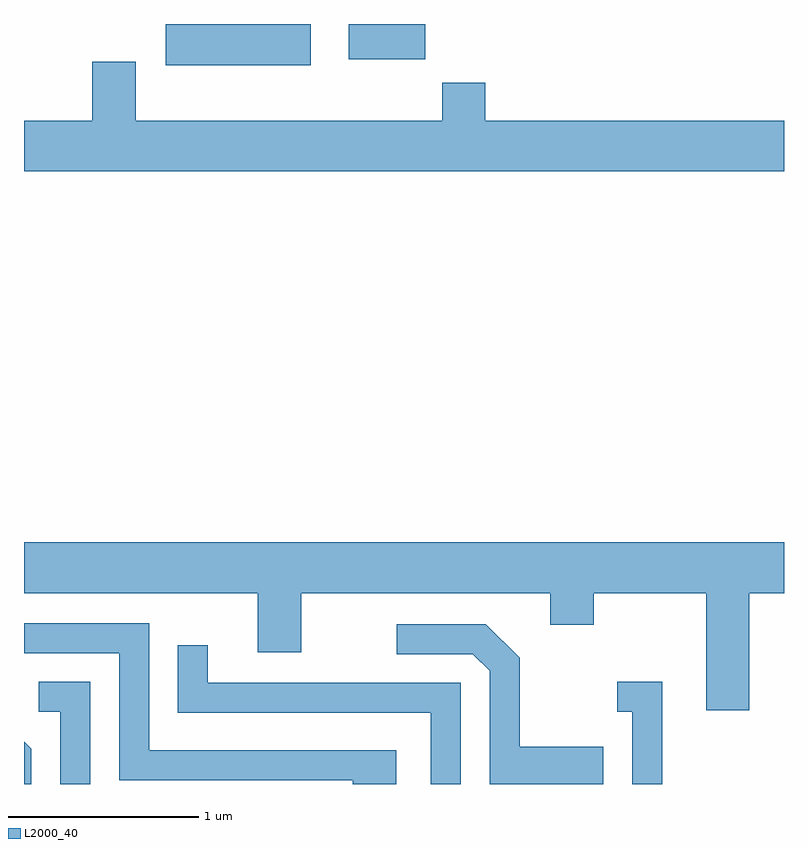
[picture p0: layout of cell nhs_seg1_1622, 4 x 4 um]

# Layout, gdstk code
import gdstk
lib = gdstk.Library(unit=1e-6, precision=1e-09)
def R(c, l, rs):  # rectangles x0, y0, x1, y1
    for r in rs: c.add(gdstk.rectangle(r[:2], r[2:], *l))
def P(c, l, *ps):  # polygons
    for p in ps: c.add(gdstk.Polygon(p, *l))
L2000_40 = (2000, 40)

nhs_seg1_1622 = lib.new_cell('nhs_seg1_1622')
R(nhs_seg1_1622, L2000_40, [(236.356,873.496,237.119,873.712), (237.321,873.526,237.724,873.712)])
P(nhs_seg1_1622, L2000_40, [(239.611,873.204),(238.039,873.204),(238.039,873.404),(237.811,873.404),(237.811,873.204),(236.199,873.204),(236.199,873.514),(235.971,873.514),(235.971,873.204),(235.611,873.204),(235.611,872.936),(239.611,872.936)],
  [(239.429,870.716),(239.611,870.716),(239.611,870.984),(235.611,870.984),(235.611,870.716),(236.841,870.716),(236.841,870.406),(237.069,870.406),(237.069,870.716),(238.381,870.716),(238.381,870.551),(238.609,870.551),(238.609,870.716),(239.201,870.716),(239.201,870.101),(239.429,870.101)],
  [(237.569,869.889),(236.269,869.889),(236.269,870.559),(235.611,870.559),(235.611,870.4),(235.612,870.401),(236.111,870.401),(236.111,869.731),(237.341,869.731),(237.341,869.712),(237.569,869.712)],
  [(238.659,869.909),(238.219,869.909),(238.219,870.377),(238.042,870.554),(237.573,870.554),(237.573,870.396),(237.974,870.396),(238.061,870.309),(238.061,869.712),(238.659,869.712)],
  [(237.909,870.244),(236.579,870.244),(236.579,870.443),(236.421,870.443),(236.421,870.086),(237.751,870.086),(237.751,869.712),(237.909,869.712)],
  [(238.969,870.249),(238.733,870.249),(238.733,870.091),(238.811,870.091),(238.811,869.712),(238.969,869.712)],
  [(235.959,870.249),(235.688,870.249),(235.688,870.091),(235.801,870.091),(235.801,869.712),(235.959,869.712)],
  [(235.649,869.897),(235.611,869.935),(235.611,869.712),(235.649,869.712)])

lib.write_gds('nhs_seg1_1622.gds')
